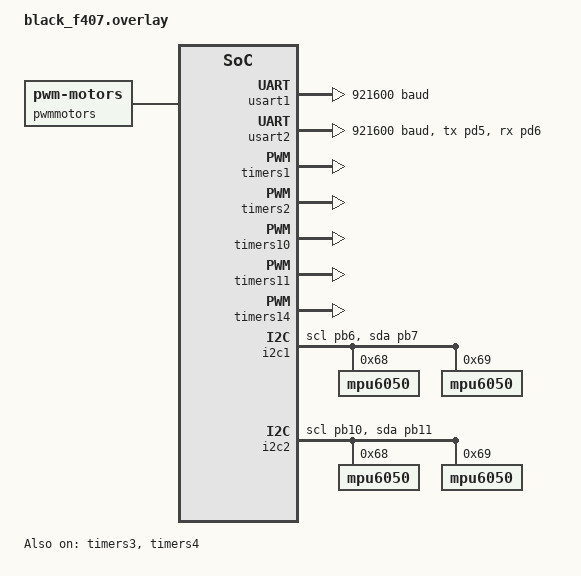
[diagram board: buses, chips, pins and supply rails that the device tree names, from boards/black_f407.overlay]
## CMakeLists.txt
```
cmake_minimum_required(VERSION 3.13.1)
find_package(Zephyr REQUIRED HINTS $ENV{ZEPHYR_BASE})

project(kyvernitis LANGUAGES C)

target_sources(app PRIVATE  src/main.c)
```

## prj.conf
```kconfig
CONFIG_GPIO=y
CONFIG_PRINTK=y
CONFIG_SERIAL=y
CONFIG_SENSOR=y
CONFIG_I2C=y
# CONFIG_MPU6050_TRIGGER_NONE=y
CONFIG_UART_INTERRUPT_DRIVEN=y
CONFIG_PWM=y
CONFIG_CRC=y

CONFIG_KYVERNITIS=y
CONFIG_CANSCRIBE=y
CONFIG_CANARD=y
```

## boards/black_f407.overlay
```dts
/ {
	pwmmotors {
		compatible = "pwm-motors";
		sabertooth1_1: pwm_1 {
			pwms  = <&pwm1 1 PWM_MSEC(20) (PWM_POLARITY_NORMAL)>;
			min-pulse = <PWM_USEC(1100)>;
			max-pulse = <PWM_USEC(1900)>;
		};
		sabertooth1_2: pwm_2 {
			pwms  = <&pwm1 2 PWM_MSEC(20) (PWM_POLARITY_NORMAL)>;
			min-pulse = <PWM_USEC(1100)>;
			max-pulse = <PWM_USEC(1900)>;
		};
		sabertooth3_1: pwm_3 {
			pwms  = <&pwm1 3 PWM_MSEC(20) (PWM_POLARITY_NORMAL)>;
			min-pulse = <PWM_USEC(1100)>;
			max-pulse = <PWM_USEC(1900)>;
		};
		sabertooth3_2: pwm_4 {
			pwms  = <&pwm1 4 PWM_MSEC(20) (PWM_POLARITY_NORMAL)>;
			min-pulse = <PWM_USEC(1100)>;
			max-pulse = <PWM_USEC(1900)>;
		};
		cytron1_1: pwm_5 {
			pwms  = <&pwm2 1 PWM_MSEC(20) (PWM_POLARITY_NORMAL)>;
			min-pulse = <PWM_USEC(1100)>;
			max-pulse = <PWM_USEC(1900)>;
		};
		cytron1_2: pwm_6 {
			pwms  = <&pwm2 2 PWM_MSEC(20) (PWM_POLARITY_NORMAL)>;
			min-pulse = <PWM_USEC(1100)>;
			max-pulse = <PWM_USEC(1900)>;
		};
		cytron3_1: pwm_7 {
			pwms  = <&pwm2 3 PWM_MSEC(20) (PWM_POLARITY_NORMAL)>;
			min-pulse = <PWM_USEC(1100)>;
			max-pulse = <PWM_USEC(1900)>;
		};
		cytron3_2: pwm_8 {
			pwms  = <&pwm2 4 PWM_MSEC(20) (PWM_POLARITY_NORMAL)>;
			min-pulse = <PWM_USEC(1100)>;
			max-pulse = <PWM_USEC(1900)>;
		};
		servo_1: pwm_9 {
			pwms  = <&pwm10 1 PWM_MSEC(20) (PWM_POLARITY_NORMAL)>;
			min-pulse = <PWM_USEC(1100)>;
			max-pulse = <PWM_USEC(1900)>;
		};
		servo_2: pwm_10 {
			pwms  = <&pwm11 1 PWM_MSEC(20) (PWM_POLARITY_NORMAL)>;
			min-pulse = <PWM_USEC(1100)>;
			max-pulse = <PWM_USEC(1900)>;
		};
		servo_3: pwm_11 {
			pwms  = <&pwm14 1 PWM_MSEC(20) (PWM_POLARITY_NORMAL)>;
			min-pulse = <PWM_USEC(1100)>;
			max-pulse = <PWM_USEC(1900)>;
		};
	};

	aliases {
		mother-uart = &usart2;
		en-fr = &qenc_fr;
		en-fl = &qenc_fl;
	};
};

&usart1 {
	current-speed = <921600>;
};

&usart2 {
	pinctrl-0 = <&usart2_tx_pd5 &usart2_rx_pd6>;
	pinctrl-names = "default";
	current-speed = <921600>;
	status = "okay";
};

&timers1 {
	status = "okay";
	st,prescaler = <3359>;

	pwm1: pwm {
		status = "okay";
		pinctrl-0 = <&tim1_ch1_pe9 &tim1_ch2_pe11 &tim1_ch3_pe13 &tim1_ch4_pe14>;
		pinctrl-names = "default";
	};
};

&timers2 {
	status = "okay";
	st,prescaler = <3359>;

	pwm2: pwm {
		status = "okay";
		pinctrl-0 = <&tim2_ch1_pa5 &tim2_ch2_pa1 &tim2_ch3_pa2 &tim2_ch4_pa3>;
		pinctrl-names = "default";
	};
};

&timers10 {
	status = "okay";
	st,prescaler = <3359>;

	pwm10: pwm {
		status = "okay";
		pinctrl-0 = <&tim10_ch1_pb8>;
		pinctrl-names = "default";
	};
};

&timers11 {
	status = "okay";
	st,prescaler = <3359>;

	pwm11: pwm {
		status = "okay";
		pinctrl-0 = <&tim11_ch1_pb9>;
		pinctrl-names = "default";
	};
};

&timers14 {
	status = "okay";
	st,prescaler = <3359>;

	pwm14: pwm {
		status = "okay";
		pinctrl-0 = <&tim14_ch1_pa7>;
		pinctrl-names = "default";
	};
};

&timers3 {
	status = "okay";
	qenc_fr: qdec {
		compatible = "st,stm32-qdec-distance";
		status = "okay";
		pinctrl-0 = <&tim3_ch1_pc6 &tim3_ch2_pc7>;
		pinctrl-names = "default";
		st,input-polarity-inverted;
		st,input-filter-level = <FDIV32_N5>;
		st,counts-per-revolution = <4706>;
	};
};

&timers4 {
	status = "okay";
	qenc_fl: qdec {
		compatible = "st,stm32-qdec-distance";
		status = "okay";
		pinctrl-0 = <&tim4_ch1_pd12 &tim4_ch2_pd13>;
		pinctrl-names = "default";
		st,input-polarity-inverted;
		st,input-filter-level = <FDIV32_N5>;
		st,counts-per-revolution = <4706>;
	};
};

&i2c1 {
	status = "okay";
	pinctrl-0  = <&i2c1_scl_pb6 &i2c1_sda_pb7>;
	pinctrl-names = "default";
	mpu6050@68 {
		compatibe = "invensense,mpu6050";
		reg = <0x68>;
		status = "okay";
	};
	mpu6050@69 {
		compatibe = "invensense,mpu6050";
		reg = <0x69>;
		status = "okay";
	};
};

&i2c2 {
	status = "okay";
	pinctrl-0  = <&i2c2_scl_pb10 &i2c2_sda_pb11>;
	pinctrl-names = "default";
	mpu6050@68 {
		compatibe = "invensense,mpu6050";
		reg = <0x68>;
		status = "okay";
	};
	mpu6050@69 {
		compatibe = "invensense,mpu6050";
		reg = <0x69>;
		status = "okay";
	};
};
```

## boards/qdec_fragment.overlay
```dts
/ {
	pwmmotors {
		compatible = "pwm-motors";
		pwm_motor_1: pwm_17 {
			pwms  = <&pwm1 1 PWM_MSEC(20) (PWM_POLARITY_NORMAL)>;
			min-pulse = <PWM_USEC(1100)>;
			max-pulse = <PWM_USEC(1900)>;
		};
		pwm_motor_2: pwm_2 {
			pwms  = <&pwm1 2 PWM_MSEC(20) (PWM_POLARITY_NORMAL)>;
			min-pulse = <PWM_USEC(1100)>;
			max-pulse = <PWM_USEC(1900)>;
		};
	};
	aliases {
		en-fr = &qenc_fr;
		en-fl = &qenc_fl;
	};
};

&timers1 {
	status = "okay";
	st,prescaler = <3359>;

	pwm1: pwm {
		status = "okay";
		pinctrl-0 = <&tim1_ch1_pe9 &tim1_ch2_pe11 &tim1_ch3_pe13 &tim1_ch4_pe14>;
		pinctrl-names = "default";
	};
};

&timers3 {
	status = "okay";
	qenc_fr: qdec {
		compatible = "st,stm32-qdec-distance";
		status = "okay";
		pinctrl-0 = <&tim3_ch1_pc6 &tim3_ch2_pc7>;
		pinctrl-names = "default";
		st,input-polarity-inverted;
		st,input-filter-level = <FDIV32_N5>;
		st,counts-per-revolution = <4706>;
	};
};

&timers4 {
	status = "okay";
	qenc_fl: qdec {
		compatible = "st,stm32-qdec-distance";
		status = "okay";
		pinctrl-0 = <&tim4_ch1_pd12 &tim4_ch2_pd13>;
		pinctrl-names = "default";
		st,input-polarity-inverted;
		st,input-filter-level = <FDIV32_N5>;
		st,counts-per-revolution = <4706>;
	};
};
```

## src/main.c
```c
/*
 * Source file for R25
 */

#include <zephyr/kernel.h>
#include <zephyr/device.h>
#include <zephyr/devicetree.h>
#include <zephyr/drivers/gpio.h>
#include <zephyr/drivers/sensor.h>
#include <zephyr/sys/crc.h>
#include <zephyr/drivers/uart.h>
#include <app_version.h>
#include <string.h>
#include <canscribe/lib/canscribe.h>
#include <kyvernitis/lib/kyvernitis.h>

/* msg size in relation to cobs serialization */
#define UART_MSG_SIZE (sizeof(struct mother_msg) + 2)

#define PWM_MOTOR_SETUP(pwm_dev_id)                                                                \
	{.dev_spec = PWM_DT_SPEC_GET(pwm_dev_id),                                                  \
	 .min_pulse = DT_PROP(pwm_dev_id, min_pulse),                                              \
	 .max_pulse = DT_PROP(pwm_dev_id, max_pulse)},

/* queue to store uart messages */
K_MSGQ_DEFINE(uart_msgq, sizeof(struct mother_msg), 10, 1);

/* DT spec for uart */
static const struct device *const uart_dev = DEVICE_DT_GET(DT_ALIAS(mother_uart));

/* DT spec for pwm motors */
struct pwm_motor motor[11] = {DT_FOREACH_CHILD(DT_PATH(pwmmotors), PWM_MOTOR_SETUP)};

/* DT spec for encoders */
const struct device *const encoder_fr = DEVICE_DT_GET(DT_ALIAS(en_fr));
const struct device *const encoder_fl = DEVICE_DT_GET(DT_ALIAS(en_fl));

/* DT spec for LED */
static const struct gpio_dt_spec led = GPIO_DT_SPEC_GET(DT_ALIAS(led0), gpios);

/*---- Global Values and configuration ----*/

/* Timeout message for diff drive */
struct DiffDriveTwist TIMEOUT_CMD = {
	.angular_z = 0,
	.linear_x = 0,
};

/* Velocity and PWM ranges */
float vel_range[] = {-3, 3};
uint32_t pwm_range[] = {1100000, 1900000};

/* Serial Callback global variables */
static uint8_t rx_buf[100];
static int rx_buf_pos;
static uint8_t tx_buf[UART_MSG_SIZE];

/* Global ticks for encoders */
int64_t ticks_fr, ticks_fl;
struct mother_msg msg;

void serial_cb(const struct device *dev, void *user_data)
{
	uint8_t c;

	if (!uart_irq_update(uart_dev)) {
		return;
	}

	if (!uart_irq_rx_ready(uart_dev)) {
		return;
	}

	/* read until FIFO empty */
	while (uart_fifo_read(uart_dev, &c, 1) == 1) {
		struct mother_msg msg;

		if (c == 0x00 && rx_buf_pos > 0) {
			// uart_fifo_read(uart_dev, &c, 1);
			/* terminate the message with 0x00 */
			rx_buf[rx_buf_pos] = 0;

			if (rx_buf_pos != (sizeof(struct mother_msg) + 2 - 1)) {
				rx_buf_pos = 0;
				continue;
			}
			// Add deserialization guard
			deserialize(rx_buf, (uint8_t *)&msg, sizeof(msg));

			/* if queue is full, message is silently dropped */
			k_msgq_put(&uart_msgq, &msg, K_NO_WAIT);

			/* reset the buffer (it was copied to the msgq) */
			rx_buf_pos = 0;
		} else if (rx_buf_pos < (sizeof(rx_buf) - 1)) {
			rx_buf[rx_buf_pos++] = c;
		}

		if (rx_buf_pos > sizeof(struct mother_msg) + 2) {
			rx_buf_pos = 0;
			continue;
		}
	}
}

/*
 * Sends raw bytes to uart_dev
 */

void send_to_uart(uint8_t *buf, uint8_t len)
{
	for (int i = 0; i < len; i++) {
		uart_poll_out(uart_dev, buf[i]);
	}
}

/* Sends log to mother-uart */
void log_uart(enum MotherMsgType type, const char *fmt, ...)
{

	va_list args;
	va_start(args, fmt);

	struct mother_msg log;
	log.type = type;
	vsprintf(log.info, fmt, args);
	va_end(args);
	log.crc = crc32_ieee((uint8_t *)&log, sizeof(struct mother_msg) - sizeof(uint32_t));
	serialize(tx_buf, (uint8_t *)&log, sizeof(struct mother_msg));
	send_to_uart(tx_buf, UART_MSG_SIZE);
}

/*
 * Validates against crc
 * Returns 1 on success
 */
int valid_crc(struct mother_msg *msg)
{
	uint32_t rcd_crc = msg->crc;
	uint32_t comp_crc =
		crc32_ieee((uint8_t *)msg, sizeof(struct mother_msg) - sizeof(uint32_t));

	if (rcd_crc != comp_crc) {
		return 0;
	}

	return 1;
}

/*
 * Position feedback callback function
 * Returns 0 on success
 */

int feedback_callback(float *feedback_buffer, int buffer_len, int wheels_per_side)
{
	struct sensor_value fr_val, fl_val;
	get_encoder_ticks(&ticks_fr, encoder_fr, &fr_val);
	get_encoder_ticks(&ticks_fl, encoder_fl, &fl_val);

	if (buffer_len < wheels_per_side * 2) {
		return 1;
	}

	for (int i = 0; i < wheels_per_side; i++) {
		feedback_buffer[i] = (float)ticks_fl / 4706 * 2 * 3.141592f;
		feedback_buffer[wheels_per_side + i] = (float)ticks_fr / 4706 * 2 * 3.141592f;
	}
	return 0;
}

/*
 * Velocity callback function
 * Returns 0 on success
 */

int velocity_callback(const float *velocity_buffer, int buffer_len, int wheels_per_side)
{

	if (buffer_len < wheels_per_side * 2) {
		return 1;
	}

	for (int i = 0; i < wheels_per_side; i++) {
		if (pwm_motor_write(&(motor[i]),
				    velocity_pwm_interpolation(*(velocity_buffer + i), vel_range,
							       pwm_range))) {
			log_uart(T_MOTHER_ERROR, "Drive: Unable to write pwm pulse to Left : %d",
				 i);
			return 1;
		}
		if (pwm_motor_write(
			    &(motor[i + wheels_per_side]),
			    velocity_pwm_interpolation(*(velocity_buffer + wheels_per_side + i),
						       vel_range, pwm_range))) {
			log_uart(T_MOTHER_ERROR, "Drive: Unable to write pwm pulse to Right : %d",
				 i);
			return 1;
		}
	}
	return 0;
}

int main()
{
	log_uart(T_MOTHER_INFO, "Mother: v%s", APP_VERSION_STRING);

	int err;

	/* Device ready checks */

	if (!device_is_ready(uart_dev)) {
		log_uart(T_MOTHER_ERROR, "UART device not ready");
	}

	for (size_t i = 0U; i < ARRAY_SIZE(motor); i++) {
		if (!pwm_is_ready_dt(&(motor[i].dev_spec))) {
			log_uart(T_MOTHER_ERROR, "PWM: Motor %s is not ready",
				 motor[i].dev_spec.dev->name);
		}
	}
	if (!device_is_ready(encoder_fl)) {
		log_uart(T_MOTHER_ERROR, "Encoder Front Left not ready");
	}
	if (!device_is_ready(encoder_fr)) {
		log_uart(T_MOTHER_ERROR, "Encoder Front Right not ready");
	}

	if (!gpio_is_ready_dt(&led)) {
		log_uart(T_MOTHER_ERROR, "Led not ready");
	}

	/* Configure devices */

	err = uart_irq_callback_user_data_set(uart_dev, serial_cb, NULL);

	if (err < 0) {
		if (err == -ENOTSUP) {
			log_uart(T_MOTHER_ERROR, "Interrupt-driven UART API support not enabled");
		} else if (err == -ENOSYS) {
			log_uart(T_MOTHER_ERROR,
				 "UART device does not support interrupt-driven API");
		} else {
			log_uart(T_MOTHER_ERROR, "Error setting UART callback: %d", err);
		}
	}
	uart_irq_rx_enable(uart_dev);

	if (gpio_pin_configure_dt(&led, GPIO_OUTPUT_ACTIVE) < 0) {
		log_uart(T_MOTHER_ERROR, "Led not configured");
	}

	struct DiffDriveConfig drive_config = {
		.wheel_separation = 0.57f,
		.wheel_separation_multiplier = 1,
		.wheel_radius = 0.15f,
		.wheels_per_side = 2,
		.command_timeout_seconds = 2,
		.left_wheel_radius_multiplier = 1,
		.right_wheel_radius_multiplier = 1,
		.update_type = POSITION_FEEDBACK,
	};

	struct DiffDrive *drive =
		diffdrive_init(&drive_config, feedback_callback, velocity_callback);

	int64_t time_last_drive_update = 0;
	int64_t drive_timestamp = 0;

	log_uart(T_MOTHER_INFO, "Initialization completed successfully");

	while (true) {
		/* Send status */
		struct DiffDriveStatus ds = diffdrive_status(drive);
		struct mother_status_msg s_msg = {.odom = ds,
						  .arm_joint_status = {0.0f, 0.0f, 0.0f},
						  .timestamp = k_uptime_get()};
		struct mother_msg status_msg = {.type = T_MOTHER_STATUS, .status = s_msg};
		uint32_t crc = crc32_ieee((uint8_t *)&status_msg,
					  sizeof(struct mother_msg) - sizeof(uint32_t));
		status_msg.crc = crc;

		serialize(tx_buf, (uint8_t *)&status_msg, sizeof(struct mother_msg));
		send_to_uart(tx_buf, UART_MSG_SIZE);

		if (k_msgq_get(&uart_msgq, &msg, K_SECONDS(2))) {
			/* Send stop to all */
			log_uart(T_MOTHER_INFO, "Message Timeout");
			drive_timestamp = k_uptime_get();
			err = diffdrive_update(drive, TIMEOUT_CMD, drive_timestamp);
			time_last_drive_update = k_uptime_get() - drive_timestamp;

			if (err) {
				log_uart(T_MOTHER_ERROR, "Diffdrive Update Failue");
			}
			continue;
		}

		if (!valid_crc(&msg)) {
			log_uart(T_MOTHER_ERROR, "Invalid CRC");
			continue;
		}

		switch (msg.type) {
		case T_MOTHER_CMD_DRIVE:
			drive_timestamp = k_uptime_get();
			diffdrive_update(drive, msg.cmd.drive_cmd, time_last_drive_update);
			time_last_drive_update = k_uptime_get() - drive_timestamp;

			if (err) {
				log_uart(T_MOTHER_ERROR, "Diffdrive Update Failue");
			}
		}
		gpio_pin_toggle_dt(&led);
	}
}
```

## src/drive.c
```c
#include "drive.h"
#include <stdlib.h>
#include <stdbool.h>
#include <math.h>
#include <string.h>

struct DiffDriveOdometryConfig {
	float wheel_separation, left_wheel_radius, right_wheel_radius;
	int velocity_rolling_window_size;
};

struct DiffDriveOdometry {
	const struct DiffDriveOdometryConfig config;
	int64_t last_command_timestamp;
	float x, y, heading, left_wheel_old_pos, right_wheel_old_pos, linear, angular;
	struct FloatRollingMeanAccumulator *linear_accumulator, *angular_accumulator;
};

int diffdrive_odometry_update_from_velocity(struct DiffDriveOdometry *odom, float left_vel,
					    float right_vel, const int64_t time);

struct DiffDrive {
	const struct DiffDriveConfig config;
	int64_t previous_update_timestamp;
	const struct DiffDriveOdometryConfig odometry_config;
	struct DiffDriveOdometry *odometry;
	int (*feedback_callback)(float *feedback_buffer, int buffer_len, int wheels_per_side);
	int (*velocity_callback)(const float *velocity_buffer, int buffer_len, int wheels_per_side);
};

struct FloatRollingMeanAccumulator* float_rolling_mean_accumulator_init(int rolling_window_size);
struct DiffDriveOdometry* diffdrive_odometry_init(struct DiffDriveOdometryConfig config);
struct DiffDrive *diffdrive_init(struct DiffDriveConfig *config,
		     int (*feedback_callback)(float *feedback_buffer, int buffer_len,
					      int wheels_per_side),
		     int (*velocity_callback)(const float *velocity_buffer, int buffer_len,
					      int wheels_per_side))
{
	struct DiffDriveOdometryConfig odom_config = {.wheel_separation = config->wheel_separation,
						      .left_wheel_radius = config->wheel_radius,
						      .right_wheel_radius = config->wheel_radius,
						      .velocity_rolling_window_size = 10};
	struct DiffDriveOdometry* odom = diffdrive_odometry_init(odom_config);
	struct DiffDrive drive = {.previous_update_timestamp = 0,
				  .odometry = odom,
				  .feedback_callback = feedback_callback,
				  .velocity_callback = velocity_callback};
	struct DiffDrive *heap_drive = (struct DiffDrive *)malloc(sizeof(drive));
	memcpy(heap_drive, &drive, sizeof(*heap_drive));
	memcpy((void *)&heap_drive->config, config, sizeof(heap_drive->config));
	return (void *)heap_drive;
}

void diffdrive_update(struct DiffDrive *drive, struct DiffDriveTwist command,
		      int64_t time_taken_by_last_update_seconds)
{
	// Get time since last update
	if (k_uptime_delta(&drive->previous_update_timestamp) >
	    drive->config.command_timeout_seconds * 1000) {
		command.linear_x = 0.0;
		command.angular_z = 0.0;
	}
	const float wheel_separation =
		drive->config.wheel_separation_multiplier * drive->config.wheel_separation;
	const float left_wheel_radius =
		drive->config.left_wheel_radius_multiplier * drive->config.wheel_radius;
	const float right_wheel_radius =
		drive->config.right_wheel_radius_multiplier * drive->config.wheel_radius;

	float linear_command = command.linear_x;
	float angular_command = command.angular_z;
	float left_feedback_mean = 0.0;
	float right_feedback_mean = 0.0;

	const int feedback_buffer_size = drive->config.wheels_per_side * 2;
	// First N elements => Left
	// Next N elements =>  Right
	float *feedback = malloc(sizeof(float) * feedback_buffer_size);
	if (drive->feedback_callback(feedback, feedback_buffer_size,
				     drive->config.wheels_per_side)) {
		// ERROR: Something went wrong while getting feedback
	}
	for (int i = 0; i < drive->config.wheels_per_side; i++) {
		const float left_feedback = feedback[i];
		const float right_feedback = feedback[drive->config.wheels_per_side + i];

		if (isnan(left_feedback) || isnan(right_feedback)) {
			// ERROR: One of the wheels gives invalid feedback
		}

		left_feedback_mean += left_feedback;
		right_feedback_mean += right_feedback;
	}
	free(feedback);
	left_feedback_mean /= drive->config.wheels_per_side;
	right_feedback_mean /= drive->config.wheels_per_side;

	if (drive->config.update_type | POSITION_FEEDBACK) {
		// TODO: odometry update from position
	} else {
		diffdrive_odometry_update_from_velocity(drive->odometry,
							left_feedback_mean * left_wheel_radius *
								time_taken_by_last_update_seconds,
							right_feedback_mean * right_wheel_radius *
								time_taken_by_last_update_seconds,
							drive->previous_update_timestamp);
	}

	const float velocity_left =
		(linear_command - angular_command * wheel_separation / 2.0) / left_wheel_radius;
	const float velocity_right =
		(linear_command + angular_command * wheel_separation / 2.0) / right_wheel_radius;

	float *velocity_buffer = (float *)malloc(sizeof(float) * feedback_buffer_size);
	for (int i = 0; i < drive->config.wheels_per_side; i++) {
		velocity_buffer[i] = velocity_left;
		velocity_buffer[drive->config.wheels_per_side + i] = velocity_right;
	}
	if (drive->velocity_callback(velocity_buffer, feedback_buffer_size,
				     drive->config.wheels_per_side)) {
		// ERROR: Something went wrong writing the velocities
	}
	free(velocity_buffer);
}

struct FloatRollingMeanAccumulator {
	float *buffer;
	const int buffer_len;
	int next_insert;
	float sum;
	int buffer_filled;
};

struct FloatRollingMeanAccumulator* float_rolling_mean_accumulator_init(int rolling_window_size)
{
	float *buffer = calloc(rolling_window_size, sizeof(float));
	struct FloatRollingMeanAccumulator frma = {.buffer = buffer,
						   .buffer_len = rolling_window_size,
						   .buffer_filled = false,
						   .next_insert = 0,
						   .sum = 0.0f};
	struct FloatRollingMeanAccumulator *heap_frma = malloc(sizeof(frma));
	memcpy(heap_frma, &frma, sizeof(*heap_frma));
	return heap_frma;
}

void float_rolling_mean_accumulator_accumulate(struct FloatRollingMeanAccumulator *frma, float val)
{
	frma->sum -= frma->buffer[frma->next_insert];
	frma->sum += val;
	frma->buffer[frma->next_insert] = val;
	frma->next_insert++;
	frma->buffer_filled |= frma->next_insert >= frma->buffer_len;
	frma->next_insert = frma->next_insert % frma->buffer_len;
}

float float_rolling_mean_accumulator_get_rolling_mean(
	const struct FloatRollingMeanAccumulator *frma)
{
	int valid_data_count =
		frma->buffer_filled * frma->buffer_len + !frma->buffer_filled * frma->next_insert;
	// CHECKME: assert(valid_data_count > 0);
	return frma->sum / valid_data_count;
}

void diffdrive_odometry_integrate_runge_kutta2(struct DiffDriveOdometry *odom, float linear,
					       float angular)
{
	const double direction = odom->heading + angular * 0.5;

	/// Runge-Kutta 2nd order integration:
	odom->x += linear * cos(direction);
	odom->y += linear * sin(direction);
	odom->heading += angular;
}

void diffdrive_odometry_integrate_exact(struct DiffDriveOdometry *odom, float linear, float angular)
{
	if (fabs(angular) < 1e-6) {
		diffdrive_odometry_integrate_runge_kutta2(odom, linear, angular);
	} else {
		/// Exact integration (should solve problems when angular is zero):
		const double heading_old = odom->heading;
		const double r = linear / angular;
		odom->heading += angular;
		odom->x += r * (sin(odom->heading) - sin(heading_old));
		odom->y += -r * (cos(odom->heading) - cos(heading_old));
	}
}

struct DiffDriveOdometry* diffdrive_odometry_init(struct DiffDriveOdometryConfig config)
{
	struct FloatRollingMeanAccumulator *linear_frma =
		float_rolling_mean_accumulator_init(config.velocity_rolling_window_size);
	struct FloatRollingMeanAccumulator *angular_frma =
		float_rolling_mean_accumulator_init(config.velocity_rolling_window_size);
	struct DiffDriveOdometry odom = {.last_command_timestamp = 0,
					 .x = 0.0,
					 .y = 0.0,
					 .heading = 0.0,
					 .left_wheel_old_pos = 0.0,
					 .right_wheel_old_pos = 0.0,
					 .linear = 0.0,
					 .angular = 0.0,
					 .linear_accumulator = linear_frma,
					 .angular_accumulator = angular_frma};
	struct DiffDriveOdometry *heap_odom = (struct DiffDriveOdometry *)malloc(sizeof(odom));
	memcpy(heap_odom, &odom, sizeof(*heap_odom));
	memcpy((void *)&heap_odom->config, &config, sizeof(heap_odom->config));
	return (void *)heap_odom;
}

int diffdrive_odometry_update_from_velocity(struct DiffDriveOdometry *odom, float left_vel,
					    float right_vel, const int64_t time)
{
	const float dt = time - odom->last_command_timestamp;
	const float linear = (left_vel + right_vel) * 0.5f;
	const float angular = (right_vel - left_vel) / odom->config.wheel_separation;

	diffdrive_odometry_integrate_exact(odom, linear, angular);
	odom->last_command_timestamp = time;

	float_rolling_mean_accumulator_accumulate(odom->linear_accumulator, linear / dt);
	float_rolling_mean_accumulator_accumulate(odom->angular_accumulator, angular / dt);

	odom->linear = float_rolling_mean_accumulator_get_rolling_mean(odom->linear_accumulator);
	odom->angular = float_rolling_mean_accumulator_get_rolling_mean(odom->angular_accumulator);
	return true;
}

int diffdrive_odometry_update(struct DiffDriveOdometry *odom, float left_pos, float right_pos,
			      const int64_t time)
{
	const float dt = time - odom->last_command_timestamp;
	if (dt < 0.0001) {
		return false;
	}

	const float left_wheel_cur_pos = left_pos * odom->config.left_wheel_radius;
	const float right_wheel_cur_pos = right_pos * odom->config.right_wheel_radius;

	const float left_wheel_est_vel = left_wheel_cur_pos - odom->left_wheel_old_pos;
	const float right_wheel_est_vel = right_wheel_cur_pos - odom->right_wheel_old_pos;

	odom->left_wheel_old_pos = left_wheel_cur_pos;
	odom->right_wheel_old_pos = right_wheel_cur_pos;

	diffdrive_odometry_update_from_velocity(odom, left_wheel_est_vel, right_wheel_est_vel,
						time);
	return true;
}

void diffdrive_odometry_reset_accumulators(struct DiffDriveOdometry *odom)
{
	free(odom->linear_accumulator);
	free(odom->angular_accumulator);

	odom->linear_accumulator =
		float_rolling_mean_accumulator_init(odom->config.velocity_rolling_window_size);
	odom->angular_accumulator =
		float_rolling_mean_accumulator_init(odom->config.velocity_rolling_window_size);
}
```

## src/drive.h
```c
#include <zephyr/device.h>
#include <zephyr/devicetree.h>
#include <zephyr/drivers/gpio.h>
#include <zephyr/drivers/can.h>
#include <zephyr/kernel.h>
#include <zephyr/logging/log.h>
#include <app_version.h>
#include <stdint.h>

struct DiffDriveTwist {
	float linear_x;
	float angular_z;
};

enum DiffDriveUpdateType {
	POSITION_FEEDBACK,
	VELOCITY_FEEDBACK
};

struct DiffDriveConfig {
	float wheel_separation;
	int wheels_per_side; // actually 2, but both are controlled by 1 signal
	float wheel_radius;

	int64_t command_timeout_seconds;
	float wheel_separation_multiplier;
	float left_wheel_radius_multiplier;
	float right_wheel_radius_multiplier;
	uint8_t update_type;
};

struct DiffDrive;
struct DiffDrive *diffdrive_init(struct DiffDriveConfig *config,
		     int (*feedback_callback)(float *feedback_buffer, int buffer_len,
					      int wheels_per_side),
		     int (*velocity_callback)(const float *velocity_buffer, int buffer_len,
					      int wheels_per_side));
void diffdrive_update(struct DiffDrive *drive, struct DiffDriveTwist command,
		      int64_t time_taken_by_last_update_seconds);
```

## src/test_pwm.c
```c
/*
 * Test file for checking pwm pins
 */

#include <zephyr/device.h>
#include <zephyr/devicetree.h>
#include <zephyr/drivers/gpio.h>
#include <zephyr/drivers/pwm.h>
#include <zephyr/kernel.h>

#include <kyvernitis/lib/kyvernitis.h>

#define PWM_MOTOR_SETUP(pwm_dev_id)                                                                \
	{.dev_spec = PWM_DT_SPEC_GET(pwm_dev_id),                                                  \
	 .min_pulse = DT_PROP(pwm_dev_id, min_pulse),                                              \
	 .max_pulse = DT_PROP(pwm_dev_id, max_pulse)},
struct pwm_motor roboclaw[20] = {DT_FOREACH_CHILD(DT_PATH(pwmmotors), PWM_MOTOR_SETUP)};

static const struct gpio_dt_spec led = GPIO_DT_SPEC_GET(DT_ALIAS(led0), gpios);

int main()
{
	printk("Testing all PWM pins\n\n");

	if (!gpio_is_ready_dt(&led)){
		printk("Error: Led not ready\n");
	}

	for (size_t i = 0U; i < ARRAY_SIZE(roboclaw); i++) {
		if (!pwm_is_ready_dt(&(roboclaw[i].dev_spec))) {
			printk("PWM: Roboclaw %s is not ready\n", roboclaw[i].dev_spec.dev->name);
			return 0;
		}
	}

	if (gpio_pin_configure_dt(&led, GPIO_OUTPUT_ACTIVE) < 0)
	{
		printk("Error: Led not configured\n");
		return 0;
	}

	printk("Successfully initialized\n");

	for(size_t i = 0U; i < ARRAY_SIZE(roboclaw); i++) {
		for(uint32_t pulse = 1120000; pulse < 1920000; pulse += 100000)
		{
			if(pwm_motor_write(&roboclaw[i], pulse)) {
				printk("Unable to write pwm pulse to PWM Motor : %d", i);
				return 0;
			}
		}
	}

}
```

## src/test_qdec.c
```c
/*
 * Copyright (c) 2022 Valerio Setti <valerio.setti@gmail.com>
 *
 * SPDX-License-Identifier: Apache-2.0
 */

#include <zephyr/drivers/gpio.h>
#include <zephyr/drivers/pwm.h>
#include <zephyr/kernel.h>
#include <zephyr/device.h>
#include <zephyr/drivers/sensor.h>
#include <zephyr/sys/printk.h>

#include <kyvernitis/lib/kyvernitis.h>
#include <zephyr/drivers/gpio.h>
#define PWM_MOTOR_SETUP(pwm_dev_id)                                                                \
	{.dev_spec = PWM_DT_SPEC_GET(pwm_dev_id),                                                  \
	 .min_pulse = DT_PROP(pwm_dev_id, min_pulse),                                              \
	 .max_pulse = DT_PROP(pwm_dev_id, max_pulse)},
struct pwm_motor roboclaw[2] = {DT_FOREACH_CHILD(DT_PATH(pwmmotors), PWM_MOTOR_SETUP)};
static const struct gpio_dt_spec led_1 = GPIO_DT_SPEC_GET(DT_ALIAS(led0), gpios);

#define QUAD_ENC_EMUL_ENABLED \
	DT_NODE_EXISTS(DT_ALIAS(qenca)) && DT_NODE_EXISTS(DT_ALIAS(qencb))

#if QUAD_ENC_EMUL_ENABLED


#define QUAD_ENC_EMUL_PERIOD 100


static const struct gpio_dt_spec phase_a =
			GPIO_DT_SPEC_GET(DT_ALIAS(qenca), gpios);
static const struct gpio_dt_spec phase_b =
			GPIO_DT_SPEC_GET(DT_ALIAS(qencb), gpios);
static bool toggle_a;

void qenc_emulate_work_handler(struct k_work *work)
{
	toggle_a = !toggle_a;
	if (toggle_a) {
		gpio_pin_toggle_dt(&phase_a);
	} else {
		gpio_pin_toggle_dt(&phase_b);
	}
}

static K_WORK_DEFINE(qenc_emulate_work, qenc_emulate_work_handler);

static void qenc_emulate_timer_handler(struct k_timer *dummy)
{
	k_work_submit(&qenc_emulate_work);
}

static K_TIMER_DEFINE(qenc_emulate_timer, qenc_emulate_timer_handler, NULL);

static void qenc_emulate_init(void)
{
	printk("Quadrature encoder emulator enabled with %u ms period\n",
		QUAD_ENC_EMUL_PERIOD);

	if (!gpio_is_ready_dt(&phase_a)) {
		printk("%s: device not ready.", phase_a.port->name);
		return;
	}
	gpio_pin_configure_dt(&phase_a, GPIO_OUTPUT);

	if (!gpio_is_ready_dt(&phase_b)) {
		printk("%s: device not ready.", phase_b.port->name);
		return;
	}
	gpio_pin_configure_dt(&phase_b, GPIO_OUTPUT);

	k_timer_start(&qenc_emulate_timer, K_MSEC(QUAD_ENC_EMUL_PERIOD / 2),
			K_MSEC(QUAD_ENC_EMUL_PERIOD / 2));
}

#else

static void qenc_emulate_init(void) { };

#endif /* QUAD_ENC_EMUL_ENABLED */

int get_ticks(int64_t *ticks, const struct device *const dev, struct sensor_value *val) {
	int rc;
	rc = sensor_sample_fetch(dev);
	if (rc != 0) {
		printk("Failed to fetch sample (%d)\n", rc);
		return 0;
	}

	rc = sensor_channel_get(dev, SENSOR_CHAN_ALL, val);
	if (rc != 0) {
		printk("Failed to get data (%d)\n", rc);
		return 0;
	}
	
	*ticks = val->val1 * pow(10,6) + val->val2;
}

int main(void)
{
	struct sensor_value val;
	const struct device *const en_fr = DEVICE_DT_GET(DT_ALIAS(en_fr));
	const struct device *const en_fl = DEVICE_DT_GET(DT_ALIAS(en_fl));


	if (!device_is_ready(en_fr)) {
		printk("Qdec Front-Right device is not ready\n");
		return 0;
	}
	if (!device_is_ready(en_fl)) {
		printk("Qdec Front-Left device is not ready\n");
		return 0;
	}

	if (!gpio_is_ready_dt(&led_1)) {
		printk("Error: Led not ready.");
		return 0;
	}
	if (gpio_pin_configure_dt(&led_1, GPIO_OUTPUT_ACTIVE) < 0) {
		printk("Error: Led not configured");
		return 0;
	}
	printk("Quadrature decoder sensor test\n");

	for (size_t i = 0U; i < ARRAY_SIZE(roboclaw); i++) {
		if (!pwm_is_ready_dt(&(roboclaw[i].dev_spec))) {
			printk("PWM: Roboclaw %s is not ready\n", roboclaw[i].dev_spec.dev->name);
			return 0;
		}
	}
	qenc_emulate_init();
	int64_t ticks;
	while (true) {
		get_ticks(&ticks, en_fr, &val);	
		printk("Front-Right: %lld \n", ticks);
		get_ticks(&ticks, en_fl, &val);	
		printk("Front-Left: %lld \n", ticks);


		int pulse = 1900000;
		if(pwm_motor_write(&roboclaw[0], pulse)) {
			printk("Unable to write pwm pulse to PWM Motor : %d", 0);
			return 0;
		}

		if(pwm_motor_write(&roboclaw[1], pulse)) {
			printk("Unable to write pwm pulse to PWM Motor : %d", 1);
			return 0;
		}
		gpio_pin_toggle_dt(&led_1);
		k_msleep(1000);
	}
	return 0;
}
```

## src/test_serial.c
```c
/*
 * Copyright (c) 2022 Libre Solar Technologies GmbH
 *
 * SPDX-License-Identifier: Apache-2.0
 */

#include <zephyr/kernel.h>
#include <zephyr/device.h>
#include <zephyr/drivers/uart.h>

#include <string.h>

/* change this to any other UART peripheral if desired */
#define UART_DEVICE_NODE DT_CHOSEN(zephyr_shell_uart)

#define MSG_SIZE 32

/* queue to store up to 10 messages (aligned to 4-byte boundary) */
K_MSGQ_DEFINE(uart_msgq, MSG_SIZE, 10, 4);

static const struct device *const uart_dev = DEVICE_DT_GET(DT_ALIAS(mother_uart));

/* receive buffer used in UART ISR callback */
static char rx_buf[MSG_SIZE];
static int rx_buf_pos;

/*
 * Read characters from UART until line end is detected. Afterwards push the
 * data to the message queue.
 */
void serial_cb(const struct device *dev, void *user_data)
{
	uint8_t c;

	if (!uart_irq_update(uart_dev)) {
		return;
	}

	if (!uart_irq_rx_ready(uart_dev)) {
		return;
	}

	/* read until FIFO empty */
	while (uart_fifo_read(uart_dev, &c, 1) == 1) {
		if ((c == '\n' || c == '\r') && rx_buf_pos > 0) {
			/* terminate string */
			rx_buf[rx_buf_pos] = '\0';

			/* if queue is full, message is silently dropped */
			k_msgq_put(&uart_msgq, &rx_buf, K_NO_WAIT);

			/* reset the buffer (it was copied to the msgq) */
			rx_buf_pos = 0;
		} else if (rx_buf_pos < (sizeof(rx_buf) - 1)) {
			rx_buf[rx_buf_pos++] = c;
		}
		/* else: characters beyond buffer size are dropped */
	}
}

/*
 * Print a null-terminated string character by character to the UART interface
 */
void print_uart(char *buf)
{
	int msg_len = strlen(buf);

	for (int i = 0; i < msg_len; i++) {
		uart_poll_out(uart_dev, buf[i]);
	}
}

int main(void)
{
	char tx_buf[MSG_SIZE];

	if (!device_is_ready(uart_dev)) {
		printk("UART device not found!");
		return 0;
	}

	/* configure interrupt and callback to receive data */
	// int ret = uart_irq_callback_user_data_set(uart_dev, serial_cb, NULL);
	//
	// if (ret < 0) {
	// 	if (ret == -ENOTSUP) {
	// 		printk("Interrupt-driven UART API support not enabled\n");
	// 	} else if (ret == -ENOSYS) {
	// 		printk("UART device does not support interrupt-driven API\n");
	// 	} else {
	// 		printk("Error setting UART callback: %d\n", ret);
	// 	}
	// 	return 0;
	// }
	// uart_irq_rx_enable(uart_dev);
	while(1) {
		print_uart("Hello! I'm your echo bot.\r\n");
		print_uart("Tell me something and press enter:\r\n");
		k_sleep(K_SECONDS(1));
	}
	/* indefinitely wait for input from the user */
	// while (k_msgq_get(&uart_msgq, &tx_buf, K_FOREVER) == 0) {
	// 	print_uart("Echo: ");
	// 	print_uart(tx_buf);
	// 	print_uart("\r\n");
	// }
	return 0;
}
```

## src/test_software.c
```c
#include "zephyr/kernel.h"
#include <kyvernitis/lib/drive.h>
#include <math.h>
#include <stdio.h>
#include <string.h>

int feedback_callback(float *feedback_buffer, int buffer_len, int wheels_per_side)
{
  if (buffer_len < wheels_per_side*2) return 1;
	for (int i = 0; i < wheels_per_side; i++) {
	  feedback_buffer[i] = 5;
	  feedback_buffer[wheels_per_side + i] = 5;
	}
	return 0;
}
int velocity_callback(const float *velocity_buffer, int buffer_len, int wheels_per_side)
{
  if (buffer_len < wheels_per_side*2) return 1;
	printf("====WHEEL SPEEDS====\n");
	for (int i = 0; i < wheels_per_side; i++) {
		printf("left: %.2f right: %.2f\n", *(velocity_buffer + i),
		       *(velocity_buffer + wheels_per_side + i));
	}
	printf("====================\n");
	return 0;
}
int main(void)
{
	printf("Starting software drive test...\n");
	struct DiffDriveConfig drive_config = {.wheel_separation = 0.4f,
					       .wheel_separation_multiplier = 1,
					       .wheel_radius = 1,
					       .wheels_per_side = 2,
					       .left_wheel_radius_multiplier = 1,
					       .right_wheel_radius_multiplier = 1,
					       .update_type = POSITION_FEEDBACK};
	struct DiffDrive* drive = diffdrive_init(&drive_config, feedback_callback, velocity_callback);
	for (int i = 0; i < 10; i++) {
	  struct DiffDriveTwist cmd = {.linear_x = i, .angular_z = 0};
	  diffdrive_update(drive, cmd, 2);
	  k_msleep(3);
	  struct DiffDriveStatus status = diffdrive_status(drive);
	  printf("Position: %.2f, %.2f\n", status.x, status.y);
	}
}
```
